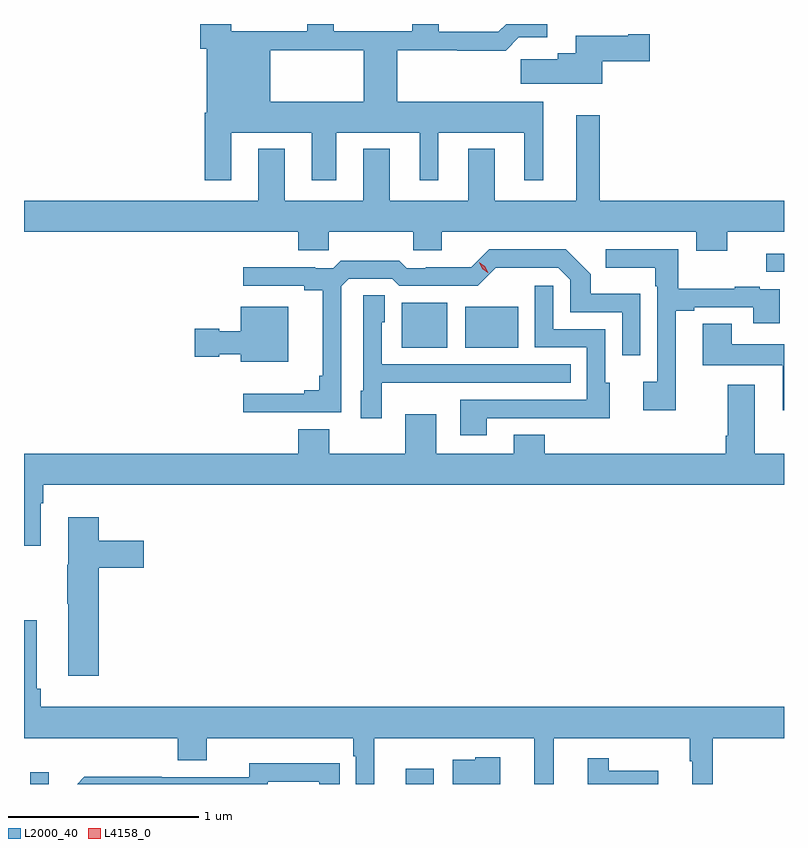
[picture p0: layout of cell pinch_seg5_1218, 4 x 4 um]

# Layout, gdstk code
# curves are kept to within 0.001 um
import gdstk
lib = gdstk.Library(unit=1e-6, precision=1e-09)
def R(c, l, rs):  # rectangles x0, y0, x1, y1
    for r in rs: c.add(gdstk.rectangle(r[:2], r[2:], *l))
def P(c, l, *ps):  # polygons
    for p in ps: c.add(gdstk.Polygon(p, *l))
L2000_40 = (2000, 40)
L4158_0 = (4158, 0)

pinch_seg5_1218 = lib.new_cell('pinch_seg5_1218')
R(pinch_seg5_1218, L2000_40, [(410.003,887.154,410.1,887.215), (411.98,887.154,412.126,887.233), (411.959,889.451,412.198,889.687), (412.292,889.451,412.57,889.666), (413.877,889.851,413.97,889.945)])
P(pinch_seg5_1218, L2000_40, [(410.921,890.686),(410.921,890.331),(411.061,890.331),(411.061,890.582),(411.485,890.582),(411.485,890.331),(411.613,890.331),(411.613,890.582),(412.052,890.582),(412.052,890.331),(412.15,890.331),(412.15,890.582),(412.604,890.582),(412.604,890.331),(412.702,890.331),(412.702,890.746),(411.935,890.746),(411.935,891.016),(412.249,891.016),(412.249,891.014),(412.505,891.014),(412.574,891.083),(412.723,891.083),(412.723,891.154),(412.507,891.154),(412.467,891.114),(412.153,891.114),(412.153,891.154),(412.013,891.154),(412.013,891.117),(411.601,891.117),(411.601,891.154),(411.461,891.154),(411.461,891.117),(411.061,891.117),(411.061,891.154),(410.897,891.154),(410.897,891.024),(410.933,891.024),(410.933,890.746),(411.265,890.746),(411.265,891.016),(411.757,891.016),(411.757,890.746),(410.933,890.746),(410.933,890.686)],
  [(413.014,890.957),(413.263,890.957),(413.263,891.099),(413.15,891.099),(413.15,891.091),(412.874,891.091),(412.874,891.001),(412.778,891.001),(412.778,890.969),(412.584,890.969),(412.584,890.84),(413.014,890.84)],
  [(413.671,890.06),(413.97,890.06),(413.97,890.224),(412.999,890.224),(412.999,890.674),(412.877,890.674),(412.877,890.224),(412.447,890.224),(412.447,890.497),(412.307,890.497),(412.307,890.224),(411.895,890.224),(411.895,890.497),(411.755,890.497),(411.755,890.224),(411.343,890.224),(411.343,890.497),(411.203,890.497),(411.203,890.224),(409.97,890.224),(409.97,890.06),(411.413,890.06),(411.413,889.962),(411.573,889.962),(411.573,890.06),(412.018,890.06),(412.018,889.962),(412.168,889.962),(412.168,890.06),(413.507,890.06),(413.507,889.961),(413.671,889.961)],
  [(411.639,889.773),(411.678,889.812),(411.909,889.812),(411.945,889.776),(412.359,889.776),(412.454,889.871),(412.782,889.872),(412.845,889.809),(412.845,889.638),(413.118,889.638),(413.118,889.41),(413.214,889.41),(413.214,889.735),(412.953,889.735),(412.953,889.838),(412.822,889.968),(412.419,889.968),(412.325,889.874),(412.084,889.874),(412.084,889.869),(411.984,889.869),(411.945,889.909),(411.637,889.909),(411.597,889.869),(411.503,889.869),(411.503,889.874),(411.123,889.874),(411.123,889.776),(411.446,889.776),(411.446,889.754),(411.542,889.754),(411.542,889.303),(411.523,889.303),(411.523,889.226),(411.446,889.226),(411.446,889.207),(411.123,889.207),(411.123,889.11),(411.639,889.11)],
  [(413.401,889.644),(413.497,889.644),(413.497,889.662),(413.807,889.662),(413.807,889.578),(413.947,889.578),(413.947,889.758),(413.843,889.758),(413.843,889.771),(413.711,889.771),(413.711,889.76),(413.413,889.76),(413.413,889.968),(413.031,889.968),(413.031,889.871),(413.292,889.871),(413.292,889.775),(413.304,889.775),(413.304,889.27),(413.229,889.27),(413.229,889.122),(413.401,889.122)],
  [(412.405,889.08),(412.835,889.08),(412.835,889.079),(413.053,889.079),(413.053,889.266),(413.028,889.266),(413.028,889.548),(412.755,889.548),(412.755,889.777),(412.659,889.777),(412.659,889.452),(412.932,889.452),(412.932,889.176),(412.265,889.176),(412.265,888.99),(412.405,888.99)],
  [(411.852,889.265),(412.169,889.265),(412.169,889.266),(412.847,889.266),(412.847,889.362),(411.852,889.362),(411.852,889.584),(411.868,889.584),(411.868,889.727),(411.756,889.727),(411.756,889.224),(411.743,889.224),(411.743,889.08),(411.852,889.08)],
  [(411.361,889.666),(411.11,889.666),(411.11,889.537),(410.997,889.537),(410.997,889.55),(410.868,889.55),(410.868,889.403),(410.997,889.403),(410.997,889.415),(411.11,889.415),(411.11,889.376),(411.361,889.376)],
  [(413.97,889.468),(413.695,889.468),(413.695,889.577),(413.543,889.577),(413.543,889.358),(413.963,889.358),(413.963,889.122),(413.97,889.122)],
  [(410.059,888.632),(410.072,888.632),(410.072,888.728),(413.97,888.728),(413.97,888.892),(413.815,888.892),(413.815,889.255),(413.675,889.255),(413.675,888.988),(413.663,888.988),(413.663,888.892),(412.711,888.892),(412.711,888.991),(412.547,888.991),(412.547,888.892),(412.141,888.892),(412.141,889.099),(411.977,889.099),(411.977,888.892),(411.577,888.892),(411.577,889.021),(411.413,889.021),(411.413,888.892),(409.97,888.892),(409.97,888.408),(410.059,888.408)],
  [(410.363,888.293),(410.599,888.293),(410.599,888.435),(410.363,888.435),(410.363,888.559),(410.204,888.559),(410.204,888.309),(410.197,888.309),(410.197,888.103),(410.204,888.103),(410.204,887.724),(410.363,887.724)],
  [(411.814,887.396),(412.655,887.396),(412.655,887.154),(412.759,887.154),(412.759,887.396),(413.475,887.396),(413.475,887.273),(413.486,887.273),(413.486,887.154),(413.596,887.154),(413.596,887.396),(413.97,887.396),(413.97,887.56),(410.057,887.56),(410.057,887.656),(410.038,887.656),(410.038,888.016),(409.97,888.016),(409.97,887.396),(410.78,887.396),(410.78,887.279),(410.932,887.279),(410.932,887.396),(411.704,887.396),(411.704,887.3),(411.717,887.3),(411.717,887.154),(411.814,887.154)],
  [(412.477,887.296),(412.344,887.296),(412.344,887.281),(412.226,887.281),(412.226,887.154),(412.477,887.154)],
  [(413.308,887.224),(413.047,887.224),(413.047,887.29),(412.937,887.29),(412.937,887.154),(413.308,887.154)],
  [(411.252,887.166),(411.524,887.166),(411.524,887.154),(411.632,887.154),(411.632,887.262),(411.156,887.263),(411.156,887.19),(410.696,887.19),(410.696,887.192),(410.288,887.192),(410.25,887.154),(411.252,887.154)])
P(pinch_seg5_1218, L4158_0, [(412.412,889.846),(412.381,889.866),(412.365,889.9),(412.365,889.9),(412.365,889.9),(412.396,889.88),(412.413,889.846),(412.413,889.846)])

lib.write_gds('pinch_seg5_1218.gds')
